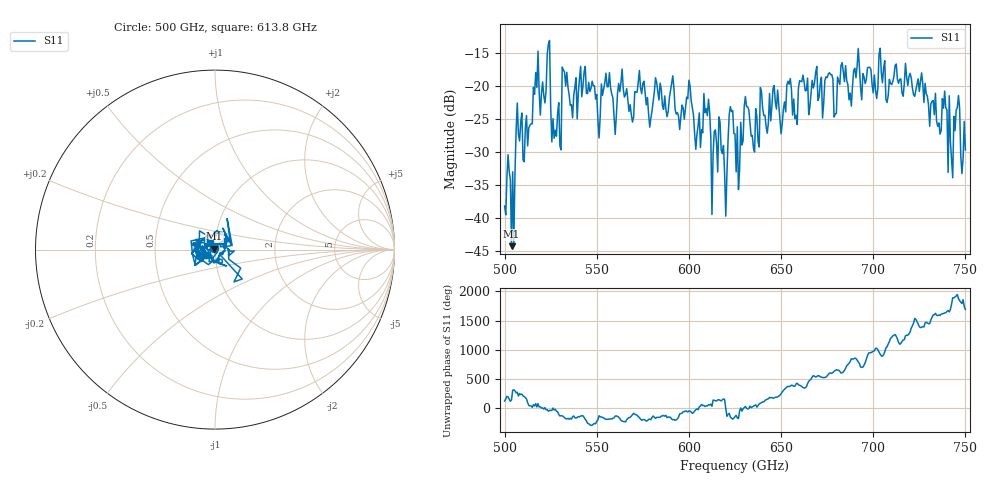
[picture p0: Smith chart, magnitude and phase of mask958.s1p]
!Created with skrf (http://scikit-rf.org).
# GHz S MA R 50.0
!freq magS11 angS11
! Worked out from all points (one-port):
!   401 points, 500 GHz to 750 GHz, reference 50 ohm
!   lowest |S11| = -44.3 dB at 503.8 GHz (marker M1), VSWR 1.01, Z = 49.6 + j0.439 ohm
!   |S11| at or under -10 dB: start of sweep to end of sweep
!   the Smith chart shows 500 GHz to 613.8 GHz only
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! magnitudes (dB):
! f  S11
! 500 GHz  -38.2
! 503.8 GHz  -44.3
! 507.5 GHz  -27.3
! 511.2 GHz  -26.3
! 516.9 GHz  -17.9
! 520.6 GHz  -19.3
! 523.8 GHz  -13.6
! 526.9 GHz  -27.9
! 531.2 GHz  -17.1
! 532.5 GHz  -17.8
! 550.6 GHz  -25.2
! 562.5 GHz  -20.8
! 568.8 GHz  -24.3
! 590.6 GHz  -19.6
! 593.8 GHz  -24.0
! 609.4 GHz  -23.4
! 619.4 GHz  -33.4
! 622.5 GHz  -23.1
! 625 GHz  -27.3
! 656.2 GHz  -24.4
! 687.5 GHz  -21.0
! 691.2 GHz  -17.0
! 718.8 GHz  -19.9
! 735.6 GHz  -25.6
! 738.8 GHz  -20.7
! 741.9 GHz  -28.4
! 745.6 GHz  -23.2
! 750 GHz  -29.7
